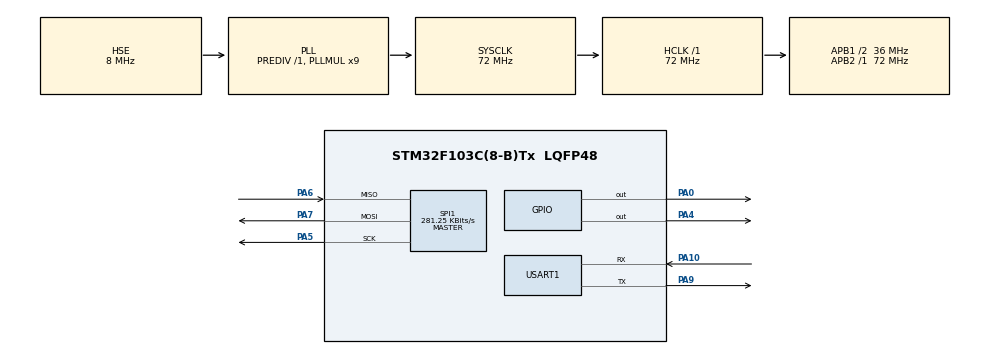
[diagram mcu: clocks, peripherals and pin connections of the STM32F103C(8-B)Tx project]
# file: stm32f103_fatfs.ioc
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Mcu.Family=STM32F1
Mcu.Name=STM32F103C(8-B)Tx
Mcu.Package=LQFP48
NVIC.PriorityGroup=NVIC_PRIORITYGROUP_4
PA0-WKUP.Signal=GPIO_Output
PA10.Mode=Asynchronous
PA10.Signal=USART1_RX
PA4.Signal=GPIO_Output
PA5.Mode=Full_Duplex_Master
PA5.Signal=SPI1_SCK
PA6.Mode=Full_Duplex_Master
PA6.Signal=SPI1_MISO
PA7.Mode=Full_Duplex_Master
PA7.Signal=SPI1_MOSI
PA9.Mode=Asynchronous
PA9.Signal=USART1_TX
PC14-OSC32_IN.Mode=LSE-External-Oscillator
PC14-OSC32_IN.Signal=RCC_OSC32_IN
PC15-OSC32_OUT.Mode=LSE-External-Oscillator
PC15-OSC32_OUT.Signal=RCC_OSC32_OUT
PD0-OSC_IN.Mode=HSE-External-Oscillator
PD0-OSC_IN.Signal=RCC_OSC_IN
PD1-OSC_OUT.Mode=HSE-External-Oscillator
PD1-OSC_OUT.Signal=RCC_OSC_OUT
ProjectManager.HeapSize=0x200
ProjectManager.StackSize=0x800
ProjectManager.TargetToolchain=MDK-ARM V5.32
RCC.AHBFreq_Value=72000000
RCC.APB1CLKDivider=RCC_HCLK_DIV2
RCC.APB1Freq_Value=36000000
RCC.APB1TimFreq_Value=72000000
RCC.APB2Freq_Value=72000000
RCC.APB2TimFreq_Value=72000000
RCC.HCLKFreq_Value=72000000
RCC.PLLMUL=RCC_PLL_MUL9
RCC.PLLSourceVirtual=RCC_PLLSOURCE_HSE
RCC.SYSCLKFreq_VALUE=72000000
RCC.SYSCLKSource=RCC_SYSCLKSOURCE_PLLCLK
RCC.USBFreq_Value=72000000
SPI1.BaudRatePrescaler=SPI_BAUDRATEPRESCALER_256
SPI1.CalculateBaudRate=281.25 KBits/s
SPI1.Direction=SPI_DIRECTION_2LINES
SPI1.Mode=SPI_MODE_MASTER
SPI1.VirtualType=VM_MASTER
USART1.VirtualMode=VM_ASYNC
VP_FATFS_VS_Generic.Mode=User_defined
VP_SYS_VS_ND.Mode=No_Debug
board=custom

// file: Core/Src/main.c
/* USER CODE BEGIN Header */
/**
  ******************************************************************************
  * @file           : main.c
  * @brief          : Main program body
  ******************************************************************************
  * @attention
  *
  * Copyright (c) 2024 STMicroelectronics.
  * All rights reserved.
  *
  * This software is licensed under terms that can be found in the LICENSE file
  * in the root directory of this software component.
  * If no LICENSE file comes with this software, it is provided AS-IS.
  *
  ******************************************************************************
  */
/* USER CODE END Header */
#include "main.h"
#include "fatfs.h"
#include "spi.h"
#include "usart.h"
#include "gpio.h"

/* USER CODE BEGIN Includes */
#include <stdio.h>
#include <string.h>
#include "user_diskio_spi.h"
/* USER CODE END Includes */

void SystemClock_Config(void);

/* USER CODE BEGIN 0 */
int count = 0;
int ret = 0;
uint8_t write_buff[512];
uint8_t read_buff[512];

void printf_bin(char *str, uint8_t *data, int len)
{
	printf("%s", str);
	for(int i=0; i<len; i++) {
		if( i % 16 == 0 ) {
			printf("\r\n");
			printf("%#6x : ", i);
		}
		printf("%02x ", data[i]);
	}
	printf("\r\n");
}

void fatfs_test()
{
  //some variables for FatFs
    FATFS FatFs; 	//Fatfs handle
    FIL fil; 		//File handle
    FRESULT fres; //Result after operations

    fres = f_mount(&FatFs, "", 1); //1=mount now
    if(fres != FR_OK)
    {
        printf("f_mount error (%i)\r\n", fres);
        return;
    }

    //Let's get some statistics from the SD card
    DWORD free_clusters, free_sectors, total_sectors;

    FATFS* getFreeFs;

    fres = f_getfree("", &free_clusters, &getFreeFs);
    if(fres != FR_OK)
    {
        printf("f_getfree error (%i)\r\n", fres);
        return;
    }
    //Formula comes from ChaN's documentation
    total_sectors = (getFreeFs->n_fatent - 2) * getFreeFs->csize;
    free_sectors = free_clusters * getFreeFs->csize;

    printf("SD card stats:\r\n%10lu KiB total drive space.\r\n%10lu KiB available.\r\n", total_sectors / 2, free_sectors / 2);
		printf("SD Total Size:%d MB SD  Free Size:%d\r\n",  total_sectors / 2048, free_sectors / 2048);

    //Now let's try and write a file "write.txt"
    fres = f_open(&fil, "write.txt", FA_WRITE | FA_OPEN_ALWAYS | FA_CREATE_ALWAYS);
    if(fres == FR_OK)
    {
        printf("I was able to open 'write.txt' for writing\r\n");
    }
    else
    {
        printf("f_open error (%i)\r\n", fres);
    }

    BYTE readBuf[16];
    //Copy in a string
    strncpy((char*)readBuf, "a new file is made!", 19);
    UINT bytesWrote;
    fres = f_write(&fil, readBuf, 19, &bytesWrote);
    if(fres == FR_OK)
    {
        printf("Wrote %i bytes to 'write.txt'!\r\n", bytesWrote);
    }
    else
    {
        printf("f_write error (%i)\r\n", fres);
    }

    //Be a tidy kiwi - don't forget to close your file!
    f_close(&fil);

    //We're done, so de-mount the drive
    f_mount(NULL, "", 0);
}

void sd_raw_test()
{
  ret = USER_SPI_initialize(0);
  printf("sd init status = (%d)\r\n", ret);

  for (int i = 0; i < 10; i++)
  {
    write_buff[i] = i;
  }

  ret = USER_SPI_write(0, write_buff, 0, 1);
  printf("sd write status = (%d)\r\n", ret);

  ret = USER_SPI_read(0, read_buff, 0, 1);
  printf("sd read status = (%d)\r\n", ret);

  printf_bin("read = ", read_buff, 10);
}

/* USER CODE END 0 */

int main(void)
{

  /* MCU Configuration--------------------------------------------------------*/

  /* Reset of all peripherals, Initializes the Flash interface and the Systick. */
  HAL_Init();

  /* Configure the system clock */
  SystemClock_Config();

  /* Initialize all configured peripherals */
  MX_GPIO_Init();
  MX_SPI1_Init();
  MX_USART1_UART_Init();
  // MX_FATFS_Init();
  /* USER CODE BEGIN 2 */
	printf("start app1...\r\n");
  // fatfs_test();
  // sd_raw_test();

  ret = USER_SPI_initialize(0);
  printf("sd init status = (%d)\r\n", ret);
  /* USER CODE END 2 */

  /* Infinite loop */
  while (1)
  {

    /* USER CODE BEGIN 3 */
    for (int i = 0; i < 10; i++)
    {
      write_buff[i] = count+i;
    }

    HAL_GPIO_WritePin(GPIOA, GPIO_PIN_0, GPIO_PIN_SET);
    ret = USER_SPI_write(0, write_buff, count*512, 1);
    HAL_GPIO_WritePin(GPIOA, GPIO_PIN_0, GPIO_PIN_RESET);
    printf("sd write status = (%d)\r\n", ret);

    // HAL_GPIO_WritePin(GPIOA, GPIO_PIN_0, GPIO_PIN_SET);
    ret = USER_SPI_read(0, read_buff, count*512, 1);
    // HAL_GPIO_WritePin(GPIOA, GPIO_PIN_0, GPIO_PIN_RESET);
    printf("sd read status = (%d)\r\n", ret);
    printf_bin("read = ", read_buff, 10);

    count ++;
    HAL_Delay(1000);
  }
  /* USER CODE END 3 */
}

void SystemClock_Config(void)
{
  RCC_OscInitTypeDef RCC_OscInitStruct = {0};
  RCC_ClkInitTypeDef RCC_ClkInitStruct = {0};

  /** Initializes the RCC Oscillators according to the specified parameters
  * in the RCC_OscInitTypeDef structure.
  */
  RCC_OscInitStruct.OscillatorType = RCC_OSCILLATORTYPE_HSE;
  RCC_OscInitStruct.HSEState = RCC_HSE_ON;
  RCC_OscInitStruct.HSEPredivValue = RCC_HSE_PREDIV_DIV1;
  RCC_OscInitStruct.HSIState = RCC_HSI_ON;
  RCC_OscInitStruct.PLL.PLLState = RCC_PLL_ON;
  RCC_OscInitStruct.PLL.PLLSource = RCC_PLLSOURCE_HSE;
  RCC_OscInitStruct.PLL.PLLMUL = RCC_PLL_MUL9;
  if (HAL_RCC_OscConfig(&RCC_OscInitStruct) != HAL_OK)
  {
    Error_Handler();
  }

  /** Initializes the CPU, AHB and APB buses clocks
  */
  RCC_ClkInitStruct.ClockType = RCC_CLOCKTYPE_HCLK|RCC_CLOCKTYPE_SYSCLK
                              |RCC_CLOCKTYPE_PCLK1|RCC_CLOCKTYPE_PCLK2;
  RCC_ClkInitStruct.SYSCLKSource = RCC_SYSCLKSOURCE_PLLCLK;
  RCC_ClkInitStruct.AHBCLKDivider = RCC_SYSCLK_DIV1;
  RCC_ClkInitStruct.APB1CLKDivider = RCC_HCLK_DIV2;
  RCC_ClkInitStruct.APB2CLKDivider = RCC_HCLK_DIV1;

  if (HAL_RCC_ClockConfig(&RCC_ClkInitStruct, FLASH_LATENCY_2) != HAL_OK)
  {
    Error_Handler();
  }
}

void Error_Handler(void)
{
  __disable_irq();
  while (1)
  {
  }
}
